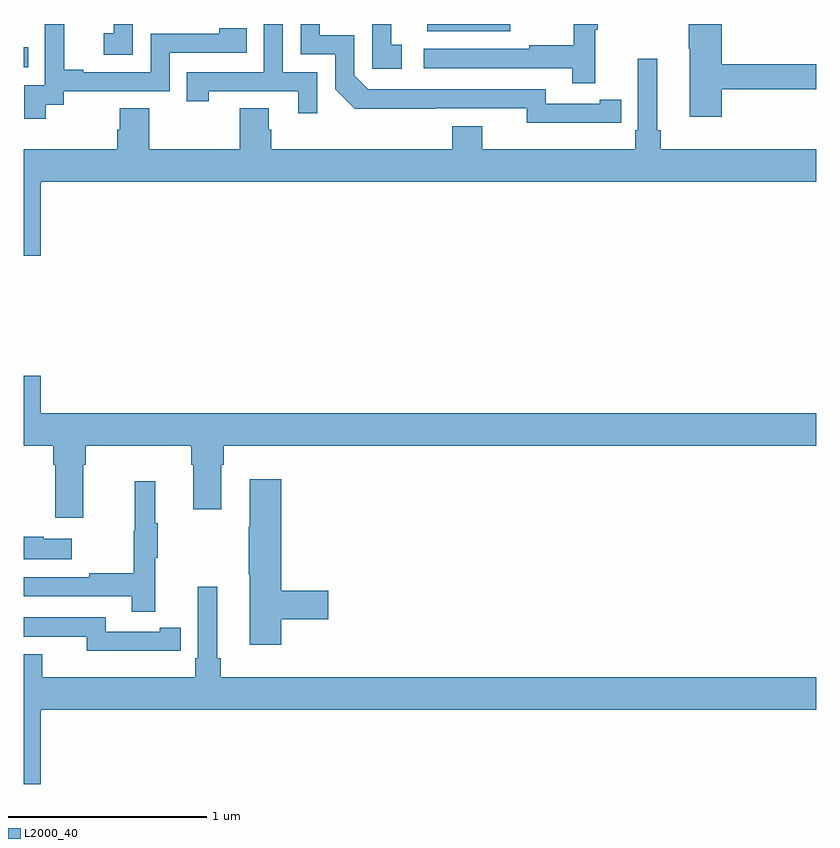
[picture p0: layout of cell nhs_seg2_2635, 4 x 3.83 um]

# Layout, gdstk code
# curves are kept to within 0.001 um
import gdstk
lib = gdstk.Library(unit=1e-6, precision=1e-09)
def R(c, l, rs):  # rectangles x0, y0, x1, y1
    for r in rs: c.add(gdstk.rectangle(r[:2], r[2:], *l))
def P(c, l, *ps):  # polygons
    for p in ps: c.add(gdstk.Polygon(p, *l))
L2000_40 = (2000, 40)

nhs_seg2_2635 = lib.new_cell('nhs_seg2_2635')
R(nhs_seg2_2635, L2000_40, [(249,613.581,249.023,613.682), (251.036,613.763,251.455,613.8)])
P(nhs_seg2_2635, L2000_40, [(251.906,613.302),(252.014,613.302),(252.014,613.418),(251.906,613.418),(251.906,613.398),(251.634,613.398),(251.634,613.47),(250.74,613.47),(250.668,613.542),(250.668,613.743),(250.495,613.743),(250.495,613.8),(250.398,613.8),(250.398,613.647),(250.572,613.647),(250.572,613.47),(250.67,613.373),(251.538,613.374),(251.538,613.301)],
  [(252.521,613.47),(253,613.47),(253,613.598),(252.521,613.598),(252.521,613.8),(252.355,613.8),(252.355,613.675),(252.362,613.675),(252.362,613.332),(252.521,613.332)],
  [(251.885,613.771),(251.896,613.771),(251.896,613.8),(251.775,613.8),(251.775,613.694),(251.551,613.694),(251.551,613.674),(251.019,613.674),(251.019,613.578),(251.767,613.578),(251.767,613.5),(251.885,613.5)],
  [(249.112,613.393),(249.204,613.393),(249.204,613.461),(249.738,613.461),(249.738,613.656),(250.127,613.656),(250.127,613.779),(249.987,613.779),(249.987,613.752),(249.642,613.752),(249.642,613.557),(249.301,613.557),(249.301,613.57),(249.206,613.57),(249.206,613.8),(249.107,613.8),(249.107,613.721),(249.108,613.721),(249.108,613.491),(249.003,613.491),(249.003,613.323),(249.112,613.323)],
  [(250.909,613.695),(250.856,613.695),(250.856,613.8),(250.758,613.8),(250.758,613.575),(250.909,613.575)],
  [(249.552,613.8),(249.454,613.8),(249.454,613.753),(249.405,613.753),(249.405,613.644),(249.552,613.644)],
  [(250.482,613.557),(250.308,613.557),(250.308,613.8),(250.212,613.8),(250.212,613.557),(249.823,613.557),(249.823,613.41),(249.934,613.41),(249.934,613.461),(250.385,613.461),(250.385,613.35),(250.482,613.35)],
  [(249.088,613.004),(253,613.004),(253,613.168),(252.215,613.168),(252.215,613.264),(252.196,613.264),(252.196,613.624),(252.099,613.624),(252.099,613.264),(252.086,613.264),(252.086,613.168),(251.314,613.168),(251.314,613.285),(251.162,613.285),(251.162,613.168),(250.25,613.168),(250.25,613.266),(250.237,613.266),(250.237,613.376),(250.09,613.376),(250.09,613.168),(249.633,613.168),(249.633,613.376),(249.485,613.376),(249.485,613.266),(249.473,613.266),(249.473,613.168),(249,613.168),(249,612.63),(249.088,612.63)],
  [(249.301,611.576),(249.314,611.576),(249.314,611.672),(249.845,611.672),(249.845,611.576),(249.857,611.576),(249.857,611.352),(249.997,611.352),(249.997,611.576),(250.01,611.576),(250.01,611.672),(253,611.672),(253,611.836),(249.088,611.836),(249.088,612.025),(249,612.025),(249,611.672),(249.149,611.672),(249.149,611.576),(249.161,611.576),(249.161,611.31),(249.301,611.31)],
  [(250.301,610.798),(250.537,610.798),(250.537,610.94),(250.301,610.94),(250.301,611.503),(250.142,611.503),(250.142,611.264),(250.135,611.264),(250.135,611.023),(250.142,611.023),(250.142,610.668),(250.301,610.668)],
  [(249.665,611.107),(249.676,611.107),(249.676,611.281),(249.665,611.281),(249.665,611.494),(249.562,611.494),(249.562,611.244),(249.555,611.244),(249.555,611.03),(249.331,611.03),(249.331,611.01),(249,611.01),(249,610.914),(249.547,610.914),(249.547,610.836),(249.665,610.836)],
  [(249.244,611.203),(249.101,611.203),(249.101,611.213),(249,611.213),(249,611.099),(249.244,611.099)],
  [(249.088,610.34),(253,610.34),(253,610.504),(249.995,610.504),(249.995,610.6),(249.976,610.6),(249.976,610.96),(249.879,610.96),(249.879,610.6),(249.866,610.6),(249.866,610.504),(249.094,610.504),(249.094,610.621),(249,610.621),(249,609.966),(249.088,609.966)],
  [(249.686,610.638),(249.794,610.638),(249.794,610.754),(249.686,610.754),(249.686,610.734),(249.414,610.734),(249.414,610.806),(249,610.806),(249,610.71),(249.318,610.71),(249.318,610.637),(249.686,610.637)])

lib.write_gds('nhs_seg2_2635.gds')
